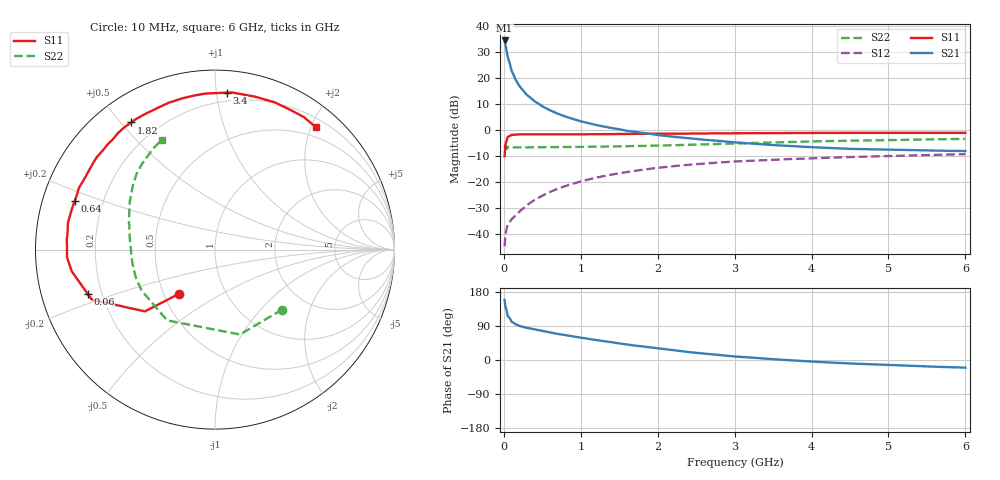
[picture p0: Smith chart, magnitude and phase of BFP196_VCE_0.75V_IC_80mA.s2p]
! Infineon Technologies  Discrete & RF Semiconductors
! BFP196
! VCE = 0.75V,  IC =  80mA
! Common Emitter S-Parameters:  Jan 2016
# GHz  S  MA  R  50
!  f  S11  S21  S12  S22
! GHz  MAG  ANG  MAG  ANG  MAG  ANG  MAG  ANG
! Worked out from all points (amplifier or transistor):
!   210 points, 10 MHz to 6 GHz, reference 50 ohm
!   highest |S21| = 34.4 dB at 10 MHz (marker M1)
!   |S21| within 3 dB of that: start of sweep to 30.05 MHz
!   unconditionally stable (mu >= 1): start of sweep to 12.18 MHz; 196 MHz to end of sweep
!   at 185 MHz: K = 0.97, MSG = 24.8 dB, |S12| = -31.8 dB
!   at 1.52 GHz: K = 1.19, MAG = 5.7 dB, |S12| = -16.5 dB
!   at 6 GHz: K = 1.08, MAG = -1.1 dB, |S12| = -9.2 dB
!   S11 on the Smith chart (normalised r, x): 10 MHz: 0.60, -0.33; 60 MHz: 0.15, -0.17; 640 MHz: 0.10, +0.17; 1.82 GHz: 0.11, +0.53; 3.4 GHz: 0.14, +1.07; 6 GHz: 0.33, +2.07
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0.01  0.3171 -129.1  52.63 158.4  0.0059 62.8  0.5018 -41.7
0.02  0.521 -138.6  44.12 141.3  0.0098 54.7  0.4932 -73.6
0.05  0.7411 -158.0  25.56 115.9  0.0153 42.0  0.476 -124.1
0.06  0.7508 -160.8  23.14 114.1  0.0161 42.5  0.4663 -129.3
0.1  0.8069 -171.3  13.85 101.1  0.0192 43.9  0.4684 -150.9
0.15  0.8255 -176.9  9.387 94.6  0.0229 51.2  0.4679 -161.0
0.2  0.8239 179.4  7.088 90.2  0.0269 54.4  0.4656 -166.4
0.26  0.8275 175.8  5.474 86.8  0.0321 58.2  0.4663 -170.5
0.3  0.8263 174.0  4.723 84.8  0.036 60.7  0.4656 -172.3
0.4  0.8326 169.6  3.573 80.5  0.0455 62.6  0.4672 -175.7
0.5  0.83 166.2  2.868 76.6  0.0547 64.5  0.4679 -178.2
0.64  0.8275 160.9  2.267 71.3  0.0687 64.1  0.4689 179.3
0.8  0.8324 155.6  1.821 65.6  0.0842 62.9  0.4715 176.9
1.02  0.829 147.6  1.45 58.4  0.105 60.6  0.4763 173.9
1.38  0.8366 136.4  1.107 47.6  0.1379 55.3  0.484 169.4
1.82  0.8488 123.4  0.879 35.4  0.1746 47.9  0.4964 164.1
2.02  0.85 118.1  0.799 30.2  0.1894 44.5  0.505 161.4
3.1  0.8708 91.6  0.568 8.0  0.2533 26.9  0.5577 147.0
3.4  0.8767 85.8  0.528 3.5  0.2659 22.6  0.5745 143.2
4.1  0.8806 73.8  0.463 -5.2  0.2903 13.4  0.6114 134.8
5.1  0.8848 60.6  0.417 -13.8  0.3201 2.2  0.6459 124.7
6  0.8844 50.7  0.396 -20.2  0.3449 -7.8  0.6785 116.0
